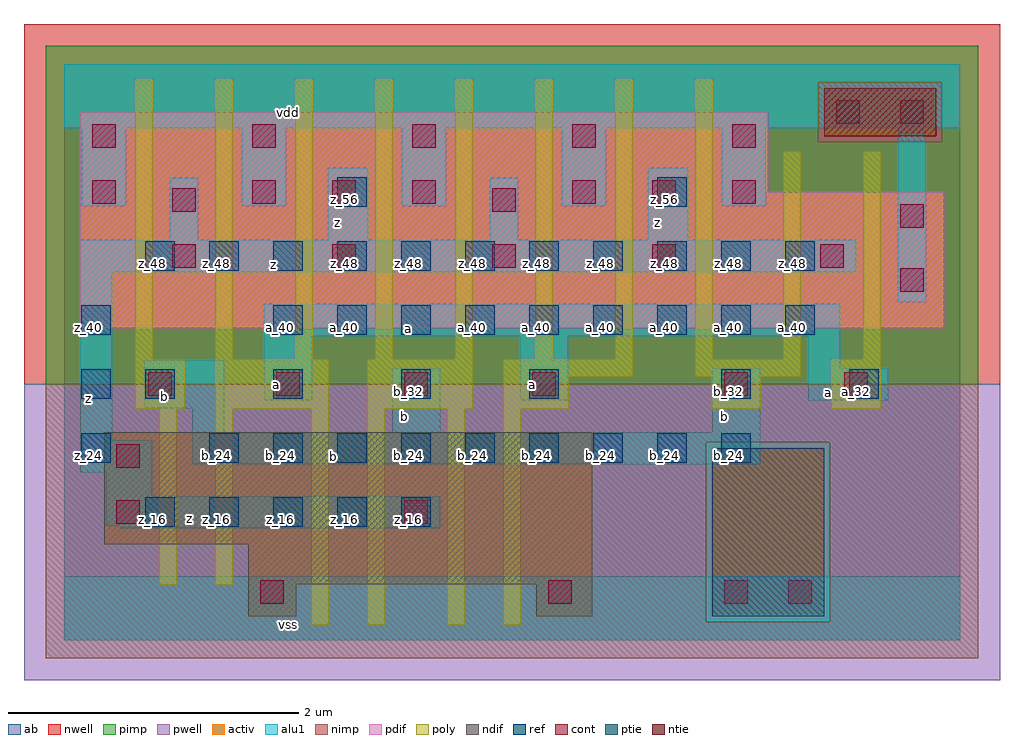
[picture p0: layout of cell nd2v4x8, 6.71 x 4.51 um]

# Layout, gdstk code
import gdstk
lib = gdstk.Library(unit=1e-6, precision=2.5e-09)
def R(c, l, rs):  # rectangles x0, y0, x1, y1
    for r in rs: c.add(gdstk.rectangle(r[:2], r[2:], *l))
def A(c, l, x, y, w, h, nx, ny, dx, dy):  # array of equal rectangles
    R(c, l, [(x+i*dx, y+j*dy, x+i*dx+w, y+j*dy+h) for i in range(nx) for j in range(ny)])
ndif = (3, 0)
pdif = (4, 0)
ntie = (5, 0)
ptie = (6, 0)
ref = (24, 0)
cont = (25, 0)
pwell = (41, 0)
nwell = (42, 0)
activ = (43, 0)
pimp = (44, 0)
nimp = (45, 0)
poly = (46, 0)
alu1 = (49, 0)
ab = (63, 0)

nd2v4x8 = lib.new_cell('nd2v4x8')
R(nd2v4x8, ndif, [(1.265,0.165,1.595,0.385), (3.245,0.165,3.63,0.385), (1.265,0.385,3.63,0.66), (0.275,0.66,3.63,1.43)])
R(nd2v4x8, pdif, [(0.11,2.145,6.05,3.08), (0.11,3.08,4.84,3.63)])
R(nd2v4x8, ntie, [(5.225,3.465,5.995,3.795)])
R(nd2v4x8, ptie, [(4.455,0.165,5.225,1.32)])
A(nd2v4x8, ref, 0.56, 0.78, 0.2, 0.2, 5, 1, 0.44, 0)
A(nd2v4x8, ref, 0.12, 1.22, 0.2, 0.2, 1, 3, 0, 0.44)
A(nd2v4x8, ref, 1, 1.22, 0.2, 0.2, 9, 1, 0.44, 0)
A(nd2v4x8, ref, 0.56, 1.66, 0.2, 0.2, 4, 1, 0.88, 0)
A(nd2v4x8, ref, 1.44, 2.1, 0.2, 0.2, 9, 1, 0.44, 0)
A(nd2v4x8, ref, 0.56, 2.54, 0.2, 0.2, 11, 1, 0.44, 0)
R(nd2v4x8, ref, [(4.52,1.66,4.72,1.86), (5.4,1.66,5.6,1.86), (1.88,2.98,2.08,3.18), (4.08,2.98,4.28,3.18)])
A(nd2v4x8, cont, 0.58, 1.68, 0.16, 0.16, 4, 1, 0.88, 0)
A(nd2v4x8, cont, 0.745, 2.56, 0.16, 0.16, 4, 1, 1.1, 0)
A(nd2v4x8, cont, 1.295, 3, 0.16, 0.16, 3, 1, 0.55, 0)
A(nd2v4x8, cont, 3.495, 3, 0.16, 0.16, 3, 1, 0.55, 0)
A(nd2v4x8, cont, 0.195, 3.385, 0.16, 0.16, 5, 1, 1.1, 0)
R(nd2v4x8, cont, [(1.35,0.25,1.51,0.41), (3.33,0.25,3.49,0.41), (4.54,0.25,4.7,0.41), (4.98,0.25,5.14,0.41), (0.36,0.8,0.52,0.96), (2.34,0.8,2.5,0.96), (0.36,1.185,0.52,1.345), (4.54,1.68,4.7,1.84), (5.365,1.68,5.525,1.84), (5.75,2.395,5.91,2.555), (5.2,2.56,5.36,2.72), (5.75,2.835,5.91,2.995), (0.745,2.945,0.905,3.105), (2.945,2.945,3.105,3.105), (0.195,3,0.355,3.16), (5.31,3.55,5.47,3.71), (5.75,3.55,5.91,3.71)])
R(nd2v4x8, pwell, [(-0.275,-0.275,6.435,1.76)])
R(nd2v4x8, nwell, [(-0.275,1.76,6.435,4.235)])
R(nd2v4x8, activ, [(1.265,0.165,1.595,0.385), (3.245,0.165,3.63,0.385), (4.455,0.165,5.225,1.32), (1.265,0.385,3.63,0.66), (0.275,0.66,3.63,1.43), (0.11,2.145,6.05,3.08), (0.11,3.08,4.84,3.63), (5.225,3.465,5.995,3.795)])
R(nd2v4x8, pimp, [(4.415,0.125,5.265,1.36), (-0.125,1.76,6.285,3.425), (-0.125,3.425,5.185,3.835), (6.035,3.425,6.285,3.835), (-0.125,3.835,6.285,4.085)])
R(nd2v4x8, nimp, [(-0.125,-0.125,6.285,0.125), (-0.125,0.125,4.415,1.36), (5.265,0.125,6.285,1.36), (-0.125,1.36,6.285,1.76), (5.185,3.425,6.035,3.835)])
A(nd2v4x8, poly, 0.49, 1.93, 0.12, 1.925, 8, 1, 0.55, 0)
R(nd2v4x8, poly, [(1.7,0.105,1.82,1.59), (2.085,0.105,2.205,1.59), (2.635,0.105,2.755,1.59), (3.02,0.105,3.14,1.59), (0.655,0.38,0.775,1.59), (1.04,0.38,1.16,1.59), (0.49,1.59,0.83,1.93), (1.04,1.59,1.82,1.93), (2.085,1.59,2.81,1.93), (3.02,1.59,3.47,1.81), (4.45,1.59,4.79,1.81), (5.275,1.59,5.615,1.93), (3.02,1.81,3.91,1.93), (4.34,1.81,5.065,1.93), (4.945,1.93,5.065,3.36), (5.495,1.93,5.615,3.36)])
A(nd2v4x8, alu1, 0.125, 2.985, 0.3, 0.535, 5, 1, 1.1, 0)
R(nd2v4x8, alu1, [(0,0,6.16,0.44), (0.385,0.77,2.585,0.785), (0.29,0.785,2.585,0.99), (0.29,0.99,0.605,1.155), (0.11,1.155,0.605,1.375), (0.88,1.21,4.785,1.43), (0.11,1.375,0.33,2.53), (0.88,1.43,1.1,1.595), (2.255,1.43,2.585,1.87), (4.455,1.43,4.785,1.87), (0.55,1.595,1.1,1.925), (1.375,1.65,1.705,2.09), (3.135,1.65,3.465,2.09), (5.115,1.65,5.665,1.87), (5.115,1.87,5.335,2.09), (1.375,2.09,5.335,2.31), (5.735,2.325,5.925,3.52), (0.11,2.53,5.445,2.75), (0.73,2.75,0.92,3.175), (1.815,2.75,2.09,3.245), (2.93,2.75,3.12,3.175), (4.015,2.75,4.29,3.245), (0,3.52,6.16,3.96)])
R(nd2v4x8, ab, [(0,0,6.16,3.96)])
nd2v4x8.add(gdstk.Label('vss', (1.54,0.11), layer=49, texttype=0))
nd2v4x8.add(gdstk.Label('z', (0.8625,0.835), layer=49, texttype=0))
nd2v4x8.add(gdstk.Label('b', (1.855,1.265), layer=49, texttype=0))
nd2v4x8.add(gdstk.Label('a', (5.2525,1.705), layer=49, texttype=0))
nd2v4x8.add(gdstk.Label('b', (4.5375,1.54), layer=49, texttype=0))
nd2v4x8.add(gdstk.Label('a', (3.2175,1.76), layer=49, texttype=0))
nd2v4x8.add(gdstk.Label('b', (2.3375,1.54), layer=49, texttype=0))
nd2v4x8.add(gdstk.Label('a', (1.4575,1.76), layer=49, texttype=0))
nd2v4x8.add(gdstk.Label('b', (0.6875,1.6775), layer=49, texttype=0))
nd2v4x8.add(gdstk.Label('a', (2.365,2.145), layer=49, texttype=0))
nd2v4x8.add(gdstk.Label('z', (0.165,1.6625), layer=49, texttype=0))
nd2v4x8.add(gdstk.Label('z', (1.4425,2.585), layer=49, texttype=0))
nd2v4x8.add(gdstk.Label('z', (4.0825,2.8725), layer=49, texttype=0))
nd2v4x8.add(gdstk.Label('z', (1.8825,2.8725), layer=49, texttype=0))
nd2v4x8.add(gdstk.Label('vdd', (1.54,3.63), layer=49, texttype=0))
nd2v4x8.add(gdstk.Label('a_32', (5.45,1.71), layer=24, texttype=0))
nd2v4x8.add(gdstk.Label('z_16', (0.61,0.83), layer=24, texttype=0))
nd2v4x8.add(gdstk.Label('b_32', (0.61,1.71), layer=24, texttype=0))
nd2v4x8.add(gdstk.Label('z_48', (0.61,2.59), layer=24, texttype=0))
nd2v4x8.add(gdstk.Label('z_16', (1.05,0.83), layer=24, texttype=0))
nd2v4x8.add(gdstk.Label('b_24', (1.05,1.27), layer=24, texttype=0))
nd2v4x8.add(gdstk.Label('z_48', (1.05,2.59), layer=24, texttype=0))
nd2v4x8.add(gdstk.Label('z_16', (1.49,0.83), layer=24, texttype=0))
nd2v4x8.add(gdstk.Label('b_24', (1.49,1.27), layer=24, texttype=0))
nd2v4x8.add(gdstk.Label('a_32', (1.49,1.71), layer=24, texttype=0))
nd2v4x8.add(gdstk.Label('a_40', (1.49,2.15), layer=24, texttype=0))
nd2v4x8.add(gdstk.Label('z_48', (1.49,2.59), layer=24, texttype=0))
nd2v4x8.add(gdstk.Label('z_16', (1.93,0.83), layer=24, texttype=0))
nd2v4x8.add(gdstk.Label('b_24', (1.93,1.27), layer=24, texttype=0))
nd2v4x8.add(gdstk.Label('a_40', (1.93,2.15), layer=24, texttype=0))
nd2v4x8.add(gdstk.Label('z_48', (1.93,2.59), layer=24, texttype=0))
nd2v4x8.add(gdstk.Label('z_56', (1.93,3.03), layer=24, texttype=0))
nd2v4x8.add(gdstk.Label('z_24', (0.17,1.27), layer=24, texttype=0))
nd2v4x8.add(gdstk.Label('z_32', (0.17,1.71), layer=24, texttype=0))
nd2v4x8.add(gdstk.Label('z_40', (0.17,2.15), layer=24, texttype=0))
nd2v4x8.add(gdstk.Label('z_16', (2.37,0.83), layer=24, texttype=0))
nd2v4x8.add(gdstk.Label('b_24', (2.37,1.27), layer=24, texttype=0))
nd2v4x8.add(gdstk.Label('b_32', (2.37,1.71), layer=24, texttype=0))
nd2v4x8.add(gdstk.Label('a_40', (2.37,2.15), layer=24, texttype=0))
nd2v4x8.add(gdstk.Label('z_48', (2.37,2.59), layer=24, texttype=0))
nd2v4x8.add(gdstk.Label('b_24', (2.81,1.27), layer=24, texttype=0))
nd2v4x8.add(gdstk.Label('a_40', (2.81,2.15), layer=24, texttype=0))
nd2v4x8.add(gdstk.Label('z_48', (2.81,2.59), layer=24, texttype=0))
nd2v4x8.add(gdstk.Label('b_24', (3.25,1.27), layer=24, texttype=0))
nd2v4x8.add(gdstk.Label('a_32', (3.25,1.71), layer=24, texttype=0))
nd2v4x8.add(gdstk.Label('a_40', (3.25,2.15), layer=24, texttype=0))
nd2v4x8.add(gdstk.Label('z_48', (3.25,2.59), layer=24, texttype=0))
nd2v4x8.add(gdstk.Label('b_24', (3.69,1.27), layer=24, texttype=0))
nd2v4x8.add(gdstk.Label('a_40', (3.69,2.15), layer=24, texttype=0))
nd2v4x8.add(gdstk.Label('z_48', (3.69,2.59), layer=24, texttype=0))
nd2v4x8.add(gdstk.Label('b_24', (4.13,1.27), layer=24, texttype=0))
nd2v4x8.add(gdstk.Label('a_40', (4.13,2.15), layer=24, texttype=0))
nd2v4x8.add(gdstk.Label('z_48', (4.13,2.59), layer=24, texttype=0))
nd2v4x8.add(gdstk.Label('z_56', (4.13,3.03), layer=24, texttype=0))
nd2v4x8.add(gdstk.Label('b_24', (4.57,1.27), layer=24, texttype=0))
nd2v4x8.add(gdstk.Label('b_32', (4.57,1.71), layer=24, texttype=0))
nd2v4x8.add(gdstk.Label('a_40', (4.57,2.15), layer=24, texttype=0))
nd2v4x8.add(gdstk.Label('z_48', (4.57,2.59), layer=24, texttype=0))
nd2v4x8.add(gdstk.Label('a_40', (5.01,2.15), layer=24, texttype=0))
nd2v4x8.add(gdstk.Label('z_48', (5.01,2.59), layer=24, texttype=0))

lib.write_gds('nd2v4x8.gds')
